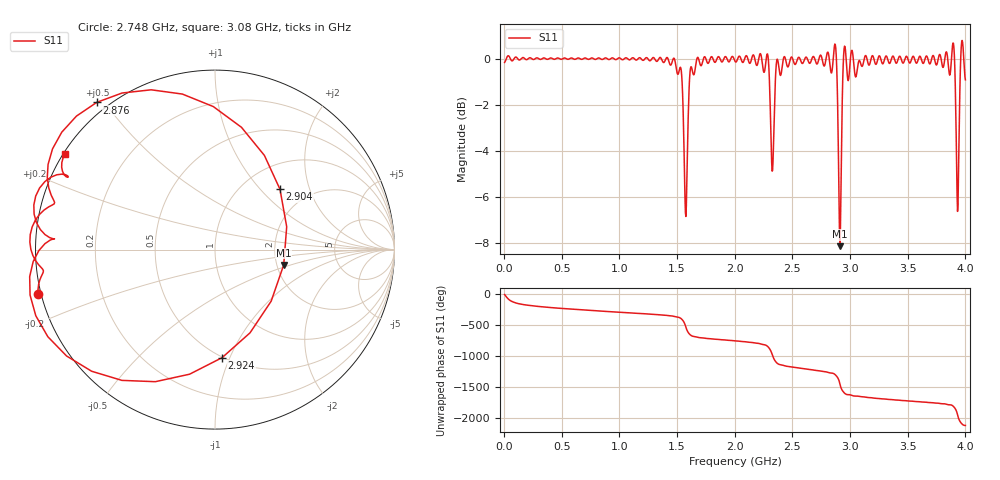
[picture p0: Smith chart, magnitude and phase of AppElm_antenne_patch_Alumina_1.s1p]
! TOUCHSTONE file generated by CST MICROWAVE STUDIO
! Date and time: Thu Jun  9 14:52:33 2022
! Project name: AppElm_antenne_patch_Alumina.cst
! Parameters = {L=30.5; W=41.8; e=0.035; h=1.6; lambda=0.190476; ls=90; w0=1.12; w1=0.373; ws=90; y0=10.5; y1=10}
! Header version: 2018
! Port assignment regex: !\s*Touchstone port\s*([0-9]+)\s*=\s*(CST MWS port|CST DS port)\s*([0-9]+|Zmin|Zmax)\s*\(\"(.*)\"\)(\s*mode\s*([0-9]+))?.*
! Touchstone port assignment:
! Touchstone port 1 = CST MWS port 1 ("")
# GHz S MA R 50
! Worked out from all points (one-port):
!   1000 points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, 4 MHz to 4 GHz, reference 50 ohm
!   lowest |S11| = -8.1 dB at 2.912 GHz (marker M1), VSWR 2.29, Z = 109 - j22 ohm
!   |S11| at or under -10 dB: nowhere
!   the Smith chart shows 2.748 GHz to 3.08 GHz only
!   S11 on the Smith chart (normalised r, x): 2.748 GHz: -0.01, -0.12; 2.876 GHz: -0.03, +0.48; 2.904 GHz: 1.45, +1.29; 2.924 GHz: 0.49, -0.94; 3.08 GHz: 0.00, +0.29
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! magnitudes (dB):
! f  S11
! 4 MHz  -0.2
! 504 MHz  0.0
! 1.004 GHz  0.0
! 1.504 GHz  -0.7
! 1.536 GHz  -0.5
! 1.564 GHz  -5.0
! 1.576 GHz  -6.8
! 1.612 GHz  -0.6
! 1.628 GHz  -0.4
! 2.004 GHz  -0.1
! 2.28 GHz  0.2
! 2.328 GHz  -4.8
! 2.368 GHz  0.0
! 2.504 GHz  0.0
! 2.748 GHz  0.1
! 2.876 GHz  0.4
! 2.904 GHz  -6.1
! 2.912 GHz  -8.1
! 2.924 GHz  -4.4
! 2.952 GHz  0.5
! 3.004 GHz  0.1
! 3.08 GHz  -0.1
! 3.504 GHz  -0.1
! 3.888 GHz  0.6
! 3.932 GHz  -6.6
! 3.944 GHz  -3.8
! 3.968 GHz  0.7
! 4 GHz  -0.9
